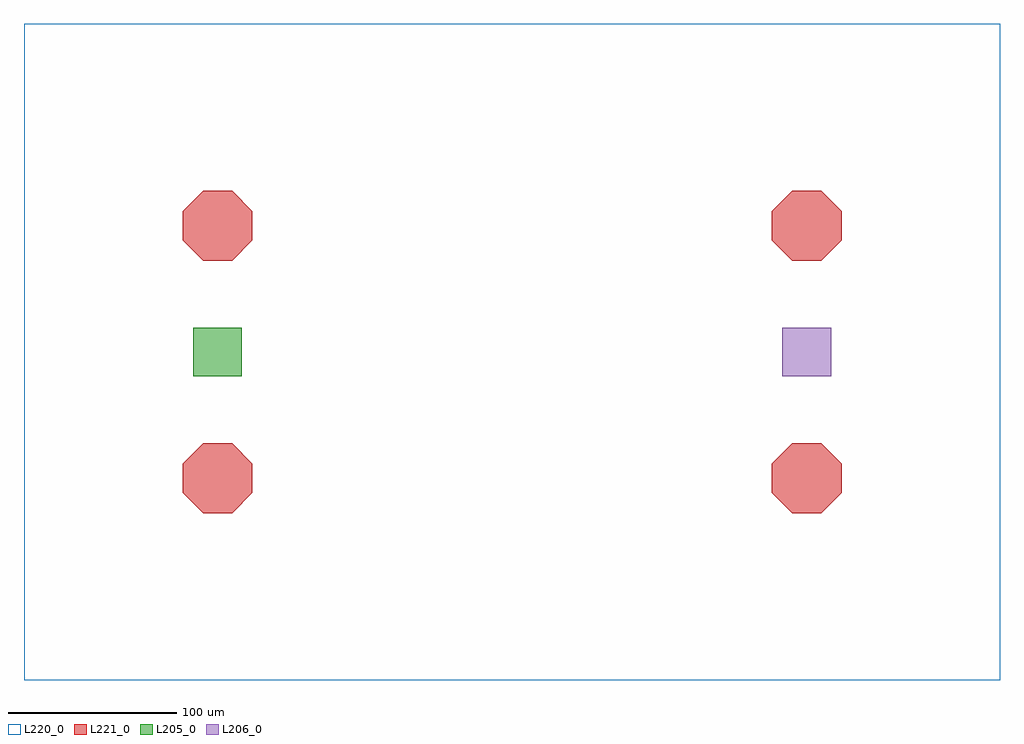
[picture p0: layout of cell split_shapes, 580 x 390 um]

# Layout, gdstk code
import gdstk
lib = gdstk.Library(unit=1e-6, precision=1e-09)
def R(c, l, rs):  # rectangles x0, y0, x1, y1
    for r in rs: c.add(gdstk.rectangle(r[:2], r[2:], *l))
def P(c, l, *ps):  # polygons
    for p in ps: c.add(gdstk.Polygon(p, *l))
L205_0 = (205, 0)
L206_0 = (206, 0)
L220_0 = (220, 0)
L221_0 = (221, 0)

split_shapes = lib.new_cell('split_shapes')
R(split_shapes, L205_0, [(25.5,95.5,54.5,124.5)])
R(split_shapes, L206_0, [(375.64,95.5,404.64,124.5)])
R(split_shapes, L220_0, [(-75,-85,505,305)])
P(split_shapes, L221_0, [(60.787,176.39),(60.787,193.61),(48.61,205.787),(31.39,205.787),(19.213,193.61),(19.213,176.39),(31.39,164.213),(48.61,164.213)],
  [(410.927,176.39),(410.927,193.61),(398.75,205.787),(381.53,205.787),(369.353,193.61),(369.353,176.39),(381.53,164.213),(398.75,164.213)],
  [(60.787,26.39),(60.787,43.61),(48.61,55.787),(31.39,55.787),(19.213,43.61),(19.213,26.39),(31.39,14.213),(48.61,14.213)],
  [(410.927,26.39),(410.927,43.61),(398.75,55.787),(381.53,55.787),(369.353,43.61),(369.353,26.39),(381.53,14.213),(398.75,14.213)])

lib.write_gds('split_shapes.gds')
